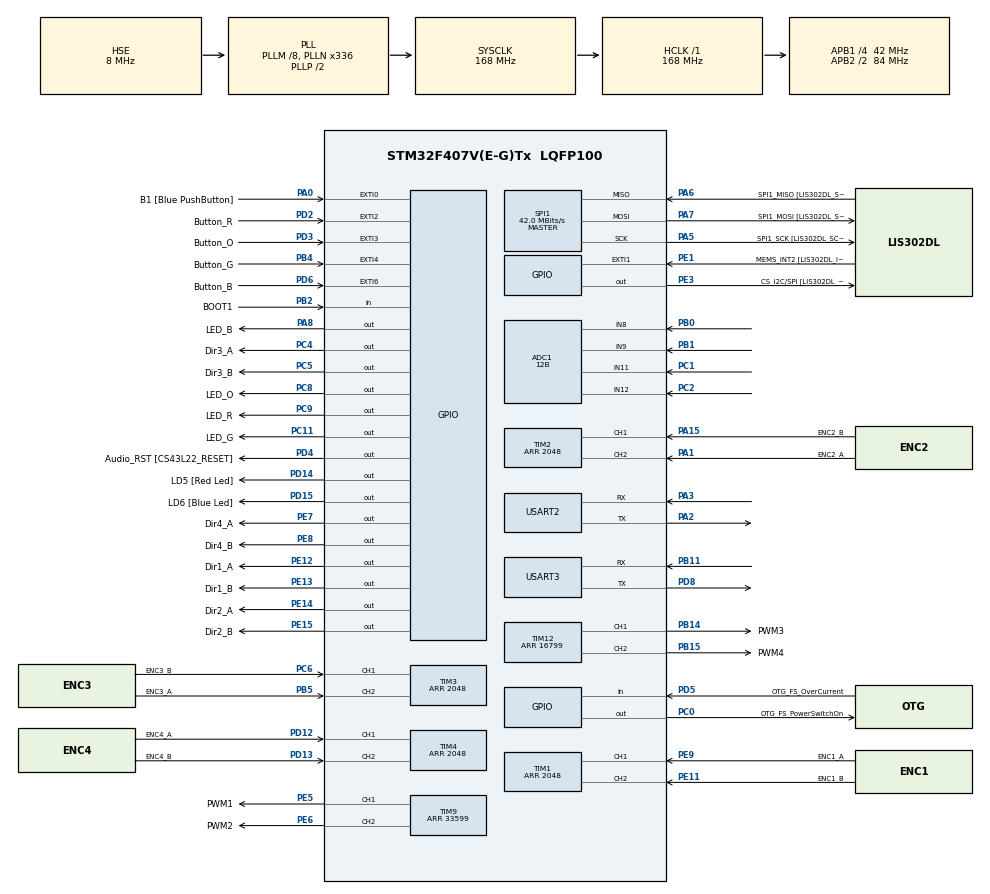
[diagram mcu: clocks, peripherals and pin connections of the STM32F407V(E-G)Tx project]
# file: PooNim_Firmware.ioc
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ADC1.Channel-0\#ChannelRegularConversion=ADC_CHANNEL_8
ADC1.Channel-1\#ChannelRegularConversion=ADC_CHANNEL_9
ADC1.Channel-2\#ChannelRegularConversion=ADC_CHANNEL_11
ADC1.Channel-3\#ChannelRegularConversion=ADC_CHANNEL_12
ADC1.Channel-4\#ChannelRegularConversion=ADC_CHANNEL_TEMPSENSOR
ADC1.ClockPrescaler=ADC_CLOCK_SYNC_PCLK_DIV4
ADC1.ContinuousConvMode=ENABLE
ADC1.DMAContinuousRequests=ENABLE
ADC1.DataAlign=ADC_DATAALIGN_RIGHT
ADC1.DiscontinuousConvMode=DISABLE
ADC1.EOCSelection=ADC_EOC_SEQ_CONV
ADC1.EnableAnalogWatchDog=false
ADC1.ExternalTrigConv=ADC_SOFTWARE_START
ADC1.ExternalTrigConvEdge=ADC_EXTERNALTRIGCONVEDGE_NONE
ADC1.InjNumberOfConversion=0
ADC1.NbrOfConversion=5
ADC1.NbrOfConversionFlag=1
ADC1.Rank-0\#ChannelRegularConversion=1
ADC1.Rank-1\#ChannelRegularConversion=2
ADC1.Rank-2\#ChannelRegularConversion=3
ADC1.Rank-3\#ChannelRegularConversion=4
ADC1.Rank-4\#ChannelRegularConversion=5
ADC1.Resolution=ADC_RESOLUTION_12B
ADC1.SamplingTime-0\#ChannelRegularConversion=ADC_SAMPLETIME_480CYCLES
ADC1.SamplingTime-1\#ChannelRegularConversion=ADC_SAMPLETIME_480CYCLES
ADC1.SamplingTime-2\#ChannelRegularConversion=ADC_SAMPLETIME_480CYCLES
ADC1.SamplingTime-3\#ChannelRegularConversion=ADC_SAMPLETIME_480CYCLES
ADC1.SamplingTime-4\#ChannelRegularConversion=ADC_SAMPLETIME_480CYCLES
ADC1.ScanConvMode=ENABLE
ADC1.master=1
Dma.ADC1.0.Direction=DMA_PERIPH_TO_MEMORY
Dma.ADC1.0.FIFOMode=DMA_FIFOMODE_DISABLE
Dma.ADC1.0.Instance=DMA2_Stream0
Dma.ADC1.0.MemDataAlignment=DMA_MDATAALIGN_BYTE
Dma.ADC1.0.MemInc=DMA_MINC_ENABLE
Dma.ADC1.0.Mode=DMA_CIRCULAR
Dma.ADC1.0.PeriphDataAlignment=DMA_PDATAALIGN_BYTE
Dma.ADC1.0.PeriphInc=DMA_PINC_DISABLE
Dma.ADC1.0.Priority=DMA_PRIORITY_HIGH
Dma.Request0=ADC1
Mcu.Family=STM32F4
Mcu.Name=STM32F407V(E-G)Tx
Mcu.Package=LQFP100
NVIC.ADC_IRQn=true\:0\:0\:false\:false\:true\:true
NVIC.DMA2_Stream0_IRQn=true\:0\:0\:false\:false\:true\:false
NVIC.EXTI2_IRQn=true\:0\:0\:false\:true\:true\:1\:true
NVIC.EXTI3_IRQn=true\:0\:0\:false\:true\:true\:2\:true
NVIC.EXTI4_IRQn=true\:0\:0\:false\:true\:true\:3\:true
NVIC.EXTI9_5_IRQn=true\:0\:0\:false\:true\:true\:5\:true
NVIC.PriorityGroup=NVIC_PRIORITYGROUP_0
NVIC.TIM5_IRQn=true\:0\:0\:false\:true\:true\:7\:true
NVIC.USART2_IRQn=true\:0\:0\:false\:true\:true\:6\:true
PA0-WKUP.GPIO_Label=B1 [Blue PushButton]
PA0-WKUP.Signal=GPXTI0
PA1.GPIO_Label=ENC2_A
PA1.GPIO_PuPd=GPIO_PULLUP
PA1.Signal=S_TIM2_CH2
PA10.GPIO_Label=OTG_FS_ID
PA10.GPIO_Mode=GPIO_MODE_AF_PP
PA10.GPIO_PuPd=GPIO_NOPULL
PA10.GPIO_Speed=GPIO_SPEED_FREQ_LOW
PA10.Signal=USB_OTG_FS_ID
PA11.GPIO_Label=OTG_FS_DM
PA11.GPIO_Mode=GPIO_MODE_AF_PP
PA11.GPIO_PuPd=GPIO_NOPULL
PA11.GPIO_Speed=GPIO_SPEED_FREQ_LOW
PA11.Signal=USB_OTG_FS_DM
PA12.GPIO_Label=OTG_FS_DP
PA12.GPIO_Mode=GPIO_MODE_AF_PP
PA12.GPIO_PuPd=GPIO_NOPULL
PA12.GPIO_Speed=GPIO_SPEED_FREQ_LOW
PA12.Signal=USB_OTG_FS_DP
PA13.GPIO_Label=SWDIO
PA13.Signal=SYS_JTMS-SWDIO
PA14.GPIO_Label=SWCLK
PA14.Signal=SYS_JTCK-SWCLK
PA15.GPIO_Label=ENC2_B
PA15.GPIO_PuPd=GPIO_PULLUP
PA15.Signal=S_TIM2_CH1_ETR
PA2.Mode=Asynchronous
PA2.Signal=USART2_TX
PA3.Mode=Asynchronous
PA3.Signal=USART2_RX
PA4.GPIO_Label=I2S3_WS [CS43L22_LRCK]
PA4.GPIO_Mode=GPIO_MODE_AF_PP
PA4.GPIO_PuPd=GPIO_NOPULL
PA4.GPIO_Speed=GPIO_SPEED_FREQ_LOW
PA4.Signal=I2S3_WS
PA5.GPIO_Label=SPI1_SCK [LIS302DL_SCL/SPC]
PA5.GPIO_Mode=GPIO_MODE_AF_PP
PA5.GPIO_PuPd=GPIO_NOPULL
PA5.GPIO_Speed=GPIO_SPEED_FREQ_LOW
PA5.Mode=Full_Duplex_Master
PA5.Signal=SPI1_SCK
PA6.GPIO_Label=SPI1_MISO [LIS302DL_SDO]
PA6.GPIO_Mode=GPIO_MODE_AF_PP
PA6.GPIO_PuPd=GPIO_NOPULL
PA6.GPIO_Speed=GPIO_SPEED_FREQ_LOW
PA6.Mode=Full_Duplex_Master
PA6.Signal=SPI1_MISO
PA7.GPIO_Label=SPI1_MOSI [LIS302DL_SDA/SDI/SDO]
PA7.GPIO_Mode=GPIO_MODE_AF_PP
PA7.GPIO_PuPd=GPIO_NOPULL
PA7.GPIO_Speed=GPIO_SPEED_FREQ_LOW
PA7.Mode=Full_Duplex_Master
PA7.Signal=SPI1_MOSI
PA8.GPIO_Label=LED_B
PA8.GPIO_PuPd=GPIO_PULLDOWN
PA8.Signal=GPIO_Output
PA9.GPIO_Label=VBUS_FS
PA9.GPIO_Mode=GPIO_MODE_INPUT
PA9.GPIO_PuPd=GPIO_NOPULL
PA9.Signal=USB_OTG_FS_VBUS
PB0.Signal=ADCx_IN8
PB1.Signal=ADCx_IN9
PB10.GPIO_Label=CLK_IN [MP45DT02_CLK]
PB10.GPIO_Mode=GPIO_MODE_AF_PP
PB10.GPIO_PuPd=GPIO_NOPULL
PB10.GPIO_Speed=GPIO_SPEED_FREQ_LOW
PB10.Signal=I2S2_CK
PB11.Mode=Multiprocessor_communication
PB11.Signal=USART3_RX
PB14.GPIO_Label=PWM3
PB14.GPIO_PuPd=GPIO_PULLUP
PB14.GPIO_Speed=GPIO_SPEED_FREQ_HIGH
PB14.Signal=S_TIM12_CH1
PB15.GPIO_Label=PWM4
PB15.GPIO_PuPd=GPIO_PULLUP
PB15.GPIO_Speed=GPIO_SPEED_FREQ_HIGH
PB15.Signal=S_TIM12_CH2
PB2.GPIO_Label=BOOT1
PB2.GPIO_Mode=GPIO_MODE_INPUT
PB2.GPIO_PuPd=GPIO_NOPULL
PB2.Signal=GPIO_Input
PB3.GPIO_Label=SWO
PB3.Signal=SYS_JTDO-SWO
PB4.GPIO_Label=Button_G
PB4.GPIO_ModeDefaultEXTI=GPIO_MODE_IT_FALLING
PB4.Signal=GPXTI4
PB5.GPIO_Label=ENC3_A
PB5.GPIO_PuPd=GPIO_PULLUP
PB5.Signal=S_TIM3_CH2
PB6.GPIO_Label=Audio_SCL [CS43L22_SCL]
PB6.GPIO_Mode=GPIO_MODE_AF_OD
PB6.GPIO_PuPd=GPIO_NOPULL
PB6.GPIO_Speed=GPIO_SPEED_FREQ_LOW
PB6.Signal=I2C1_SCL
PB9.GPIO_Label=Audio_SDA [CS43L22_SDA]
PB9.GPIO_Mode=GPIO_MODE_AF_OD
PB9.GPIO_PuPd=GPIO_NOPULL
PB9.GPIO_Speed=GPIO_SPEED_FREQ_LOW
PB9.Signal=I2C1_SDA
PC0.GPIO_Label=OTG_FS_PowerSwitchOn
PC0.GPIO_PuPd=GPIO_NOPULL
PC0.GPIO_Speed=GPIO_SPEED_FREQ_LOW
PC0.PinState=GPIO_PIN_SET
PC0.Signal=GPIO_Output
PC1.Signal=ADCx_IN11
PC10.GPIO_Label=I2S3_SCK [CS43L22_SCLK]
PC10.GPIO_Mode=GPIO_MODE_AF_PP
PC10.GPIO_PuPd=GPIO_NOPULL
PC10.GPIO_Speed=GPIO_SPEED_FREQ_LOW
PC10.Signal=I2S3_CK
PC11.GPIO_Label=LED_G
PC11.GPIO_PuPd=GPIO_PULLDOWN
PC11.Signal=GPIO_Output
PC12.GPIO_Label=I2S3_SD [CS43L22_SDIN]
PC12.GPIO_Mode=GPIO_MODE_AF_PP
PC12.GPIO_PuPd=GPIO_NOPULL
PC12.GPIO_Speed=GPIO_SPEED_FREQ_LOW
PC12.Signal=I2S3_SD
PC14-OSC32_IN.GPIO_Label=PC14-OSC32_IN
PC14-OSC32_IN.Signal=RCC_OSC32_IN
PC15-OSC32_OUT.GPIO_Label=PC15-OSC32_OUT
PC15-OSC32_OUT.Signal=RCC_OSC32_OUT
PC2.Signal=ADCx_IN12
PC3.GPIO_Label=PDM_OUT [MP45DT02_DOUT]
PC3.GPIO_Mode=GPIO_MODE_AF_PP
PC3.GPIO_PuPd=GPIO_NOPULL
PC3.GPIO_Speed=GPIO_SPEED_FREQ_LOW
PC3.Signal=I2S2_SD
PC4.GPIO_Label=Dir3_A
PC4.GPIO_PuPd=GPIO_PULLDOWN
PC4.Signal=GPIO_Output
PC5.GPIO_Label=Dir3_B
PC5.GPIO_PuPd=GPIO_PULLDOWN
PC5.Signal=GPIO_Output
PC6.GPIO_Label=ENC3_B
PC6.GPIO_PuPd=GPIO_PULLUP
PC6.GPIO_Speed=GPIO_SPEED_FREQ_LOW
PC6.Signal=S_TIM3_CH1
PC7.GPIO_Label=I2S3_MCK [CS43L22_MCLK]
PC7.GPIO_Mode=GPIO_MODE_AF_PP
PC7.GPIO_PuPd=GPIO_NOPULL
PC7.GPIO_Speed=GPIO_SPEED_FREQ_LOW
PC7.Signal=I2S3_MCK
PC8.GPIO_Label=LED_O
PC8.GPIO_PuPd=GPIO_PULLDOWN
PC8.Signal=GPIO_Output
PC9.GPIO_Label=LED_R
PC9.GPIO_PuPd=GPIO_PULLDOWN
PC9.Signal=GPIO_Output
PD12.GPIO_Label=ENC4_A
PD12.GPIO_PuPd=GPIO_PULLUP
PD12.Signal=S_TIM4_CH1
PD13.GPIO_Label=ENC4_B
PD13.GPIO_PuPd=GPIO_PULLUP
PD13.Signal=S_TIM4_CH2
PD14.GPIO_Label=LD5 [Red Led]
PD14.GPIO_PuPd=GPIO_NOPULL
PD14.GPIO_Speed=GPIO_SPEED_FREQ_LOW
PD14.Signal=GPIO_Output
PD15.GPIO_Label=LD6 [Blue Led]
PD15.GPIO_PuPd=GPIO_NOPULL
PD15.GPIO_Speed=GPIO_SPEED_FREQ_LOW
PD15.Signal=GPIO_Output
PD2.GPIO_Label=Button_R
PD2.GPIO_ModeDefaultEXTI=GPIO_MODE_IT_FALLING
PD2.Signal=GPXTI2
PD3.GPIO_Label=Button_O
PD3.GPIO_ModeDefaultEXTI=GPIO_MODE_IT_FALLING
PD3.GPIO_PuPd=GPIO_NOPULL
PD3.Signal=GPXTI3
PD4.GPIO_Label=Audio_RST [CS43L22_RESET]
PD4.GPIO_PuPd=GPIO_NOPULL
PD4.GPIO_Speed=GPIO_SPEED_FREQ_LOW
PD4.Signal=GPIO_Output
PD5.GPIO_Label=OTG_FS_OverCurrent
PD5.GPIO_Mode=GPIO_MODE_INPUT
PD5.GPIO_PuPd=GPIO_NOPULL
PD5.Signal=GPIO_Input
PD6.GPIO_Label=Button_B
PD6.GPIO_ModeDefaultEXTI=GPIO_MODE_IT_FALLING
PD6.Signal=GPXTI6
PD8.Mode=Multiprocessor_communication
PD8.Signal=USART3_TX
PE1.GPIO_Label=MEMS_INT2 [LIS302DL_INT2]
PE1.GPIO_ModeDefaultEXTI=GPIO_MODE_EVT_RISING
PE1.GPIO_PuPd=GPIO_NOPULL
PE1.Signal=GPXTI1
PE11.GPIO_Label=ENC1_B
PE11.GPIO_PuPd=GPIO_PULLUP
PE11.Signal=S_TIM1_CH2
PE12.GPIO_Label=Dir1_A
PE12.GPIO_PuPd=GPIO_PULLDOWN
PE12.Signal=GPIO_Output
PE13.GPIO_Label=Dir1_B
PE13.GPIO_PuPd=GPIO_PULLDOWN
PE13.Signal=GPIO_Output
PE14.GPIO_Label=Dir2_A
PE14.GPIO_PuPd=GPIO_PULLDOWN
PE14.Signal=GPIO_Output
PE15.GPIO_Label=Dir2_B
PE15.GPIO_PuPd=GPIO_PULLDOWN
PE15.Signal=GPIO_Output
PE3.GPIO_Label=CS_I2C/SPI [LIS302DL_CS_I2C/SPI]
PE3.GPIO_PuPd=GPIO_NOPULL
PE3.GPIO_Speed=GPIO_SPEED_FREQ_LOW
PE3.Signal=GPIO_Output
PE5.GPIO_Label=PWM1
PE5.GPIO_PuPd=GPIO_PULLUP
PE5.GPIO_Speed=GPIO_SPEED_FREQ_HIGH
PE5.Signal=S_TIM9_CH1
PE6.GPIO_Label=PWM2
PE6.GPIO_PuPd=GPIO_PULLUP
PE6.GPIO_Speed=GPIO_SPEED_FREQ_HIGH
PE6.Signal=S_TIM9_CH2
PE7.GPIO_Label=Dir4_A
PE7.GPIO_PuPd=GPIO_PULLDOWN
PE7.Signal=GPIO_Output
PE8.GPIO_Label=Dir4_B
PE8.GPIO_PuPd=GPIO_PULLDOWN
PE8.Signal=GPIO_Output
PE9.GPIO_Label=ENC1_A
PE9.GPIO_PuPd=GPIO_PULLUP
PE9.Signal=S_TIM1_CH1
PH0-OSC_IN.GPIO_Label=PH0-OSC_IN
PH0-OSC_IN.Mode=HSE-External-Oscillator
PH0-OSC_IN.Signal=RCC_OSC_IN
PH1-OSC_OUT.GPIO_Label=PH1-OSC_OUT
PH1-OSC_OUT.Mode=HSE-External-Oscillator
PH1-OSC_OUT.Signal=RCC_OSC_OUT
ProjectManager.HeapSize=0x200
ProjectManager.StackSize=0x400
ProjectManager.TargetToolchain=MDK-ARM V5
RCC.48MHZClocksFreq_Value=48000000
RCC.AHBFreq_Value=168000000
RCC.APB1CLKDivider=RCC_HCLK_DIV4
RCC.APB1Freq_Value=42000000
RCC.APB1TimFreq_Value=84000000
RCC.APB2CLKDivider=RCC_HCLK_DIV2
RCC.APB2Freq_Value=84000000
RCC.APB2TimFreq_Value=168000000
RCC.CortexFreq_Value=168000000
RCC.HCLKFreq_Value=168000000
RCC.HSE_VALUE=8000000
RCC.HSI_VALUE=16000000
RCC.LSE_VALUE=32768
RCC.PLLM=8
RCC.PLLN=336
RCC.PLLQ=7
RCC.PLLSourceVirtual=RCC_PLLSOURCE_HSE
RCC.SYSCLKFreq_VALUE=168000000
RCC.SYSCLKSource=RCC_SYSCLKSOURCE_PLLCLK
RCC.VCOOutputFreq_Value=336000000
SH.ADCx_IN11.0=ADC1_IN11,IN11
SH.ADCx_IN12.0=ADC1_IN12,IN12
SH.ADCx_IN8.0=ADC1_IN8,IN8
SH.ADCx_IN9.0=ADC1_IN9,IN9
SH.S_TIM12_CH1.0=TIM12_CH1,PWM Generation1 CH1
SH.S_TIM12_CH2.0=TIM12_CH2,PWM Generation2 CH2
SH.S_TIM1_CH1.0=TIM1_CH1,Encoder_Interface
SH.S_TIM1_CH2.0=TIM1_CH2,Encoder_Interface
SH.S_TIM2_CH1_ETR.0=TIM2_CH1,Encoder_Interface
SH.S_TIM2_CH2.0=TIM2_CH2,Encoder_Interface
SH.S_TIM3_CH1.0=TIM3_CH1,Encoder_Interface
SH.S_TIM3_CH2.0=TIM3_CH2,Encoder_Interface
SH.S_TIM4_CH1.0=TIM4_CH1,Encoder_Interface
SH.S_TIM4_CH2.0=TIM4_CH2,Encoder_Interface
SH.S_TIM9_CH1.0=TIM9_CH1,PWM Generation1 CH1
SH.S_TIM9_CH2.0=TIM9_CH2,PWM Generation2 CH2
SPI1.BaudRatePrescaler=SPI_BAUDRATEPRESCALER_2
SPI1.CalculateBaudRate=42.0 MBits/s
SPI1.Direction=SPI_DIRECTION_2LINES
SPI1.Mode=SPI_MODE_MASTER
SPI1.VirtualType=VM_MASTER
TIM1.EncoderMode=TIM_ENCODERMODE_TI12
TIM1.IC1Filter=5
TIM1.IC2Filter=5
TIM1.Period=2048
TIM12.Channel-PWM\ Generation1\ CH1=TIM_CHANNEL_1
TIM12.Channel-PWM\ Generation2\ CH2=TIM_CHANNEL_2
TIM12.Period=16799
TIM2.EncoderMode=TIM_ENCODERMODE_TI12
TIM2.Period=2048
TIM3.EncoderMode=TIM_ENCODERMODE_TI12
TIM3.Period=2048
TIM4.EncoderMode=TIM_ENCODERMODE_TI12
TIM4.Period=2048
TIM5.Period=199
TIM5.Prescaler=20999
TIM9.Channel-PWM\ Generation1\ CH1=TIM_CHANNEL_1
TIM9.Channel-PWM\ Generation2\ CH2=TIM_CHANNEL_2
TIM9.Period=33599
USART2.VirtualMode=VM_ASYNC
USART3.VirtualMode=VM_ASYNC
VP_ADC1_TempSens_Input.Mode=IN-TempSens
VP_TIM5_VS_ClockSourceINT.Mode=Internal
board=STM32F4DISCOVERY

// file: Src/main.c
/**
  ******************************************************************************
  * @file           : main.c
  * @brief          : Main program body
  ******************************************************************************
  ** This notice applies to any and all portions of this file
  * that are not between comment pairs USER CODE BEGIN and
  * USER CODE END. Other portions of this file, whether
  * inserted by the user or by software development tools
  * are owned by their respective copyright owners.
  *
  * COPYRIGHT(c) 2018 STMicroelectronics
  *
  * Redistribution and use in source and binary forms, with or without modification,
  * are permitted provided that the following conditions are met:
  *   1. Redistributions of source code must retain the above copyright notice,
  *      this list of conditions and the following disclaimer.
  *   2. Redistributions in binary form must reproduce the above copyright notice,
  *      this list of conditions and the following disclaimer in the documentation
  *      and/or other materials provided with the distribution.
  *   3. Neither the name of STMicroelectronics nor the names of its contributors
  *      may be used to endorse or promote products derived from this software
  *      without specific prior written permission.
  *
  * THIS SOFTWARE IS PROVIDED BY THE COPYRIGHT HOLDERS AND CONTRIBUTORS "AS IS"
  * AND ANY EXPRESS OR IMPLIED WARRANTIES, INCLUDING, BUT NOT LIMITED TO, THE
  * IMPLIED WARRANTIES OF MERCHANTABILITY AND FITNESS FOR A PARTICULAR PURPOSE ARE
  * DISCLAIMED. IN NO EVENT SHALL THE COPYRIGHT HOLDER OR CONTRIBUTORS BE LIABLE
  * FOR ANY DIRECT, INDIRECT, INCIDENTAL, SPECIAL, EXEMPLARY, OR CONSEQUENTIAL
  * DAMAGES (INCLUDING, BUT NOT LIMITED TO, PROCUREMENT OF SUBSTITUTE GOODS OR
  * SERVICES; LOSS OF USE, DATA, OR PROFITS; OR BUSINESS INTERRUPTION) HOWEVER
  * CAUSED AND ON ANY THEORY OF LIABILITY, WHETHER IN CONTRACT, STRICT LIABILITY,
  * OR TORT (INCLUDING NEGLIGENCE OR OTHERWISE) ARISING IN ANY WAY OUT OF THE USE
  * OF THIS SOFTWARE, EVEN IF ADVISED OF THE POSSIBILITY OF SUCH DAMAGE.
  *
  ******************************************************************************
  */
#include "main.h"
#include "stm32f4xx_hal.h"
#include "adc.h"
#include "dma.h"
#include "spi.h"
#include "tim.h"
#include "usart.h"
#include "gpio.h"

/* USER CODE BEGIN Includes */
#include "motor.h"
#include "robot.h"
#include "common.h"
/* USER CODE END Includes */

/* USER CODE BEGIN PV */
/* Private variables ---------------------------------------------------------*/

/* USER CODE END PV */

void SystemClock_Config(void);
static void MX_NVIC_Init(void);

/* USER CODE BEGIN PFP */
/* Private function prototypes -----------------------------------------------*/

/* USER CODE END PFP */

/* USER CODE BEGIN 0 */
// Global variables
uint32_t volatile g_sysTicks_50ms = 0;		// Externed in common.h
uint32_t volatile g_sysTicks_100ms = 0;		// Externed in common.h

// Local variables
uint32_t sysTick_50ms = 0;
uint32_t sysTick_100ms = 0;

/* USER CODE END 0 */

int main(void)
{

  /* MCU Configuration----------------------------------------------------------*/

  /* Reset of all peripherals, Initializes the Flash interface and the Systick. */
  HAL_Init();

  /* Configure the system clock */
  SystemClock_Config();

  /* Initialize all configured peripherals */
  MX_GPIO_Init();
  MX_DMA_Init();
  MX_ADC1_Init();
  MX_SPI1_Init();
  MX_TIM1_Init();
  MX_TIM2_Init();
  MX_TIM3_Init();
  MX_TIM4_Init();
  MX_TIM5_Init();
  MX_TIM9_Init();
  MX_TIM12_Init();
  MX_USART2_UART_Init();
  MX_USART3_UART_Init();
  /* Initialize interrupts */
  MX_NVIC_Init();
  /* USER CODE BEGIN 2 */
	printf("PooNim Firmware\n");

	//Start UART2 receive in non-blocking mode
	//Receive dummy data via UART2
	HAL_UART_Receive_IT(&huart2, (uint8_t *)UART2_RxBuffer, sizeof(UART2_RxBuffer)); 	//Dummy receive data to get thing started
	HAL_UART_Transmit_IT(&huart2, (uint8_t *)UART2_RxBuffer, sizeof(UART2_TxBuffer));	//Dummy receive data to get thing started

	//Start Timer5 interrupt
	HAL_TIM_Base_Start_IT(&htim5);	//20Hz interrupt

	//Some Hardware check
	//SystemCheck();
	// Init system state-machine
	uint8_t systemState = 0;

  /* USER CODE END 2 */

  /* Infinite loop */
  /* USER CODE BEGIN WHILE */
  while (1)
  {
		uint32_t ticks_50ms = g_sysTicks_50ms;
		uint32_t ticks_100ms = g_sysTicks_100ms;

		/*------------------------------*/
		/*		Periodic function call		*/
		/*------------------------------*/
		if(sysTick_50ms != ticks_50ms)
		{
			// 20 Hz call
			// Update encoder reading
			MotorUpdate_Encoder();
			// Motor control-loop
			MotorControl_PID(&motor1);
			MotorControl_PID(&motor2);
			MotorControl_PID(&motor3);
			MotorControl_PID(&motor4);

			sysTick_50ms = ticks_50ms;
		}

		if(sysTick_100ms != ticks_100ms)
		{
			// 10 Hz call
			// System State-Machine Update
			systemState = systemSM_Update(systemState);

			sysTick_100ms = ticks_100ms;
		}

	}	//  While=loop
  /* USER CODE END WHILE */

}

void SystemClock_Config(void)
{

  RCC_OscInitTypeDef RCC_OscInitStruct;
  RCC_ClkInitTypeDef RCC_ClkInitStruct;

    /**Configure the main internal regulator output voltage
    */
  __HAL_RCC_PWR_CLK_ENABLE();

  __HAL_PWR_VOLTAGESCALING_CONFIG(PWR_REGULATOR_VOLTAGE_SCALE1);

    /**Initializes the CPU, AHB and APB busses clocks
    */
  RCC_OscInitStruct.OscillatorType = RCC_OSCILLATORTYPE_HSE;
  RCC_OscInitStruct.HSEState = RCC_HSE_ON;
  RCC_OscInitStruct.PLL.PLLState = RCC_PLL_ON;
  RCC_OscInitStruct.PLL.PLLSource = RCC_PLLSOURCE_HSE;
  RCC_OscInitStruct.PLL.PLLM = 8;
  RCC_OscInitStruct.PLL.PLLN = 336;
  RCC_OscInitStruct.PLL.PLLP = RCC_PLLP_DIV2;
  RCC_OscInitStruct.PLL.PLLQ = 7;
  if (HAL_RCC_OscConfig(&RCC_OscInitStruct) != HAL_OK)
  {
    _Error_Handler(__FILE__, __LINE__);
  }

    /**Initializes the CPU, AHB and APB busses clocks
    */
  RCC_ClkInitStruct.ClockType = RCC_CLOCKTYPE_HCLK|RCC_CLOCKTYPE_SYSCLK
                              |RCC_CLOCKTYPE_PCLK1|RCC_CLOCKTYPE_PCLK2;
  RCC_ClkInitStruct.SYSCLKSource = RCC_SYSCLKSOURCE_PLLCLK;
  RCC_ClkInitStruct.AHBCLKDivider = RCC_SYSCLK_DIV1;
  RCC_ClkInitStruct.APB1CLKDivider = RCC_HCLK_DIV4;
  RCC_ClkInitStruct.APB2CLKDivider = RCC_HCLK_DIV2;

  if (HAL_RCC_ClockConfig(&RCC_ClkInitStruct, FLASH_LATENCY_5) != HAL_OK)
  {
    _Error_Handler(__FILE__, __LINE__);
  }

    /**Configure the Systick interrupt time
    */
  HAL_SYSTICK_Config(HAL_RCC_GetHCLKFreq()/1000);

    /**Configure the Systick
    */
  HAL_SYSTICK_CLKSourceConfig(SYSTICK_CLKSOURCE_HCLK);

  /* SysTick_IRQn interrupt configuration */
  HAL_NVIC_SetPriority(SysTick_IRQn, 0, 0);
}

/**
  * @brief NVIC Configuration.
  * @retval None
  */
static void MX_NVIC_Init(void)
{
  /* EXTI2_IRQn interrupt configuration */
  HAL_NVIC_SetPriority(EXTI2_IRQn, 0, 0);
  HAL_NVIC_EnableIRQ(EXTI2_IRQn);
  /* EXTI3_IRQn interrupt configuration */
  HAL_NVIC_SetPriority(EXTI3_IRQn, 0, 0);
  HAL_NVIC_EnableIRQ(EXTI3_IRQn);
  /* EXTI4_IRQn interrupt configuration */
  HAL_NVIC_SetPriority(EXTI4_IRQn, 0, 0);
  HAL_NVIC_EnableIRQ(EXTI4_IRQn);
  /* EXTI9_5_IRQn interrupt configuration */
  HAL_NVIC_SetPriority(EXTI9_5_IRQn, 0, 0);
  HAL_NVIC_EnableIRQ(EXTI9_5_IRQn);
  /* USART2_IRQn interrupt configuration */
  HAL_NVIC_SetPriority(USART2_IRQn, 0, 0);
  HAL_NVIC_EnableIRQ(USART2_IRQn);
  /* TIM5_IRQn interrupt configuration */
  HAL_NVIC_SetPriority(TIM5_IRQn, 0, 0);
  HAL_NVIC_EnableIRQ(TIM5_IRQn);
}

/* USER CODE BEGIN 4 */

uint8_t systemSM_Update(uint8_t systemState)
{
		// For Case 3 -- Communication test
		CMD_HandlerTypeDef COMM_test;

		// For Case 5
		CMD_HandlerTypeDef Serial_Control;
		signed int ENC_speed[4];

		switch(systemState){
			case(0):
				// case 0
				// Initialize parameters and variables
				printf("Case 0\n");
				// --Init motors
				InitMotors();
				printf("Initialize Motors\n");
				// --Init Buttons
				InitButtons();
				printf("Initialize Buttons\n");
				// Move to next state
				systemState = 1;

			break;

			case(1):
				// case 1 -- Get State from button press
				printf("Case 1\n");
				// -- Turn all buttons LED on
				ButtonLED_set(&button_R);	// Green
				ButtonLED_set(&button_G);	// Red
				ButtonLED_set(&button_B);	// Blue
				ButtonLED_set(&button_O);	// Orange

				if(button_R.ButtonState){
					button_R.ButtonState = false;	// Reset button state
					systemState = 2;	//Motor Test
					ButtonLED_reset(&button_G);	// Green
					ButtonLED_reset(&button_B);	// Blue
					ButtonLED_reset(&button_O);	// Orange
				}else if(button_G.ButtonState){
					button_G.ButtonState = false;	// Reset button state
					systemState = 3;	//Comm Test
					ButtonLED_reset(&button_R);	// Red
					ButtonLED_reset(&button_B);	// Blue
					ButtonLED_reset(&button_O);	// Orange
				}else if(button_B.ButtonState){
					button_B.ButtonState = false;	// Reset button state
					systemState = 4;	//Sensor Test
					ButtonLED_reset(&button_G);	// Green
					ButtonLED_reset(&button_R);	// Red
					ButtonLED_reset(&button_O);	// Orange
				}else if(button_O.ButtonState){
					button_O.ButtonState = false;	// Reset button state
					systemState = 5;	//Joystick Control
					ButtonLED_reset(&button_G);	// Green
					ButtonLED_reset(&button_R);	// Red
					ButtonLED_reset(&button_B);	// Blue
					}
			break;

			case(2):
				// case 2 -- Motors Test
				printf("Case 2\n");
				// Set Motor speed set point, in term of encoder count per update
				MotorSet_Setpoint(&motor1, 50);
				MotorSet_Setpoint(&motor2, 50);
				MotorSet_Setpoint(&motor3, 50);
				MotorSet_Setpoint(&motor4, 50);

				//MotorSet_speed(&motor1, -1.0);
				//MotorSet_speed(&motor2, -1.0);
				//MotorSet_speed(&motor3, -1.0);
				//MotorSet_speed(&motor4, -1.0);

				printf("Encoder : %i\t%i\t%i\t%i\n", motor1.Encoder_value, motor2.Encoder_value, motor3.Encoder_value, motor4.Encoder_value);
				//printf("Error : %f\t%f\t%f\t%f\n", motor1.Error, motor2.Error, motor3.Error, motor4.Error);
			break;

			case(3):
				// case 3 -- Communcation Test
				printf("Case 3\n");
				printf("Transmit USART at 10Hz\n");
				uint8_t test_TxBuffer[12];
				test_TxBuffer[0] = 0x5B;	// '['
				test_TxBuffer[1] = 0x5F;	// '_'
				test_TxBuffer[2] = 0x5F;	// '_'
				test_TxBuffer[3] = 0x5F;	// '_'
				test_TxBuffer[4] = 0x5F;	// '_'
				test_TxBuffer[5] = 0x5F;	// '_'
				test_TxBuffer[6] = 0x5F;	// '_'
				test_TxBuffer[7] = 0x5F;	// '_'
				test_TxBuffer[8] = 0x5F;	// '_'
				test_TxBuffer[9] = 0x5F;	// '_'
				test_TxBuffer[10] = 0x5F;	// '_'
				test_TxBuffer[11] = 0x5D;	// ']'
				HAL_UART_Transmit_IT(&huart2, (uint8_t *)test_TxBuffer, sizeof(test_TxBuffer));

				COMM_test = GetSerialCMD();
				//printf("%i -- %i\n", UART2_CMD_test.cmd_id, (int16_t)((UART2_CMD_test.data[0]) << 8) | ((int16_t)(UART2_CMD_test.data[1])));
				printf("%i -- %i -- %i -- %i\n", COMM_test.cmd_id,
																					Convert_2U8_INT16(COMM_test.data[0],COMM_test.data[1]),
																					Convert_2U8_INT16(COMM_test.data[2],COMM_test.data[3]),
																					Convert_2U8_INT16(COMM_test.data[4],COMM_test.data[5]));
			break;

			case(4):
				// case 4 - Sensors Test
				printf("Case 4\n");

			break;

			case(5):
			// case 5 -- Serial Control
				printf("Case 5\n");
				Serial_Control = GetSerialCMD();
				// The raw value from serial port would be in range of [-1000 to 1000]. We devide
				// the value by 1000.0 to get float value in range of [-1.000 to 1.000]
				PooNim_CMD.vel_x = Convert_2U8_INT16(Serial_Control.data[0],Serial_Control.data[1])/1000.0f;
				PooNim_CMD.vel_y = Convert_2U8_INT16(Serial_Control.data[2],Serial_Control.data[3])/1000.0f;
				PooNim_CMD.rot_w = Convert_2U8_INT16(Serial_Control.data[4],Serial_Control.data[5])/1000.0f;
				//printf("Vel X: %.3f : Vel Y: %.3f : Rot Z: %.3f\n", PooNim_CMD.vel_x, PooNim_CMD.vel_y, PooNim_CMD.rot_w);

				// Calculate required wheel speed, in Encoder count unit, and use as a set point for PID
				Robot_CalWheelSpeed(&PooNim_CMD,  ENC_speed);	// ENC_speed will be in float unit
				MotorSet_Setpoint(&motor1, ENC_speed[0]);
				MotorSet_Setpoint(&motor2, ENC_speed[1]);
				MotorSet_Setpoint(&motor3, ENC_speed[2]);
				MotorSet_Setpoint(&motor4, ENC_speed[3]);
				//printf("%i : %i : %i : %i\n", ENC_speed[0], ENC_speed[1], ENC_speed[2], ENC_speed[3]);
				reportEncoder();		// Send encoder value through UART_Tx
			break;

			default:
				// Default state
			break;
		}// switch case

		//Return systemState
		return systemState;
}

void InitMotors(void)
{
	//	Start required components for motors
	//	eg. Timer for PWM, Timer for Encoder

	//Start TIM9 for PWM1 and PWM2, 5kHz
	HAL_TIM_Base_Start(&htim9);
	HAL_TIM_PWM_Start(&htim9, TIM_CHANNEL_1);	//PWM1
	HAL_TIM_PWM_Start(&htim9, TIM_CHANNEL_2);	//PWM2

	//Start TIM12 for PWM3 and PWM4 generation, 5kHz
	HAL_TIM_Base_Start(&htim12);
	HAL_TIM_PWM_Start(&htim12, TIM_CHANNEL_1);	//PWM3
	HAL_TIM_PWM_Start(&htim12, TIM_CHANNEL_2);	//PWM4

	//Start TIM1 for Encoder1 interface
	HAL_TIM_Encoder_Start(&htim1,TIM_CHANNEL_ALL);	//Start Timer1 to count encoder pulses
	__HAL_TIM_SetCounter(&htim1, 0);	//Set count to 0

	//Start TIM2 for Encoder2 interface
	HAL_TIM_Encoder_Start(&htim2,TIM_CHANNEL_ALL);	//Start Timer2 to count encoder pulses
	__HAL_TIM_SetCounter(&htim2, 0);	//Set count to 0

	//Start TIM3 for Encoder3 interface
	HAL_TIM_Encoder_Start(&htim3,TIM_CHANNEL_ALL);	//Start Timer3 to count encoder pulses
	__HAL_TIM_SetCounter(&htim3, 0);	//Set count to 0

	//Start TIM4 for Encoder4 interface
	HAL_TIM_Encoder_Start(&htim4,TIM_CHANNEL_ALL);	//Start Timer4 to count encoder pulses
	__HAL_TIM_SetCounter(&htim4, 0);	//Set count to 0

	//Initialize motors
	MotorInit(&motor1, 1);
	MotorInit(&motor2, 2);
	MotorInit(&motor3, 3);
	MotorInit(&motor4, 4);

	//Set motor speed to zero
	MotorSet_speed(&motor1, 0.0);
	MotorSet_speed(&motor2, 0.0);
	MotorSet_speed(&motor3, 0.0);
	MotorSet_speed(&motor4, 0.0);

	//Reset Encoder count
	motor1.Encoder_feedback = 0;
	motor2.Encoder_feedback = 0;
	motor3.Encoder_feedback = 0;
	motor4.Encoder_feedback = 0;
}

void InitButtons(void)
{
	ButtonInit(&button_R, 1);
	ButtonInit(&button_G, 2);
	ButtonInit(&button_B, 3);
	ButtonInit(&button_O, 4);
}

void SystemCheck(void)
{
	//To do:
	//- Make it smarter, check encoder value when motor moving
	//- Check PID control instead of just set open-loop speed
	//- Test UART Transmit and Receive as well
	//- Make this check optional, by button press

	//Check Motors & LEDs
	MotorSet_speed(&motor1, 0.2);
	ButtonLED_set(&button_G);
	HAL_Delay(1000);

	MotorSet_speed(&motor2, 0.2);
	ButtonLED_set(&button_B);
	HAL_Delay(1000);

	MotorSet_speed(&motor3, 0.2);
	ButtonLED_set(&button_R);
	HAL_Delay(1000);

	MotorSet_speed(&motor4, 0.2);
	ButtonLED_set(&button_O);
	HAL_Delay(1000);

	//Stop motor
	MotorSet_speed(&motor1, 0.0);
	ButtonLED_reset(&button_G);
	HAL_Delay(1000);

	MotorSet_speed(&motor2, 0.0);
	ButtonLED_reset(&button_B);
	HAL_Delay(1000);

	MotorSet_speed(&motor3, 0.0);
	ButtonLED_reset(&button_R);
	HAL_Delay(1000);

	MotorSet_speed(&motor4, 0.0);
	ButtonLED_reset(&button_O);
	HAL_Delay(1000);

	//Turn another way
	MotorSet_speed(&motor1, -0.2);
	ButtonLED_set(&button_G);
	HAL_Delay(1000);

	MotorSet_speed(&motor2, -0.2);
	ButtonLED_set(&button_B);
	HAL_Delay(1000);

	MotorSet_speed(&motor3, -0.2);
	ButtonLED_set(&button_R);
	HAL_Delay(1000);

	MotorSet_speed(&motor4, -0.2);
	ButtonLED_set(&button_O);
	HAL_Delay(1000);

	//Stop motor
	MotorSet_speed(&motor1, 0.0);
	ButtonLED_reset(&button_G);
	HAL_Delay(1000);

	MotorSet_speed(&motor2, 0.0);
	ButtonLED_reset(&button_B);
	HAL_Delay(1000);

	MotorSet_speed(&motor3, 0.0);
	ButtonLED_reset(&button_R);
	HAL_Delay(1000);

	MotorSet_speed(&motor4, 0.0);
	ButtonLED_reset(&button_O);
	HAL_Delay(1000);
}

int fputc(int ch, FILE *f)
{
	return(ITM_SendChar(ch));
}
/* USER CODE END 4 */
/* ----------------------------------------------------------- */
//		Function: Convert_2U8_INT16
//		Description:	convert 2 uint8_t into a single int16_t.
//									To use when receive a data from Serial.
//		Example:	LSB = 0xAA, MSB = 0xBB --> Output = 0xBBAA
/* ----------------------------------------------------------- */
int16_t Convert_2U8_INT16(uint8_t LSB, uint8_t MSB){
	return (int16_t)(MSB << 8) | ((int16_t)(LSB));
}

void _Error_Handler(char *file, int line)
{
  while(1)
  {
  }
}

/************************ (C) COPYRIGHT STMicroelectronics *****END OF FILE****/
